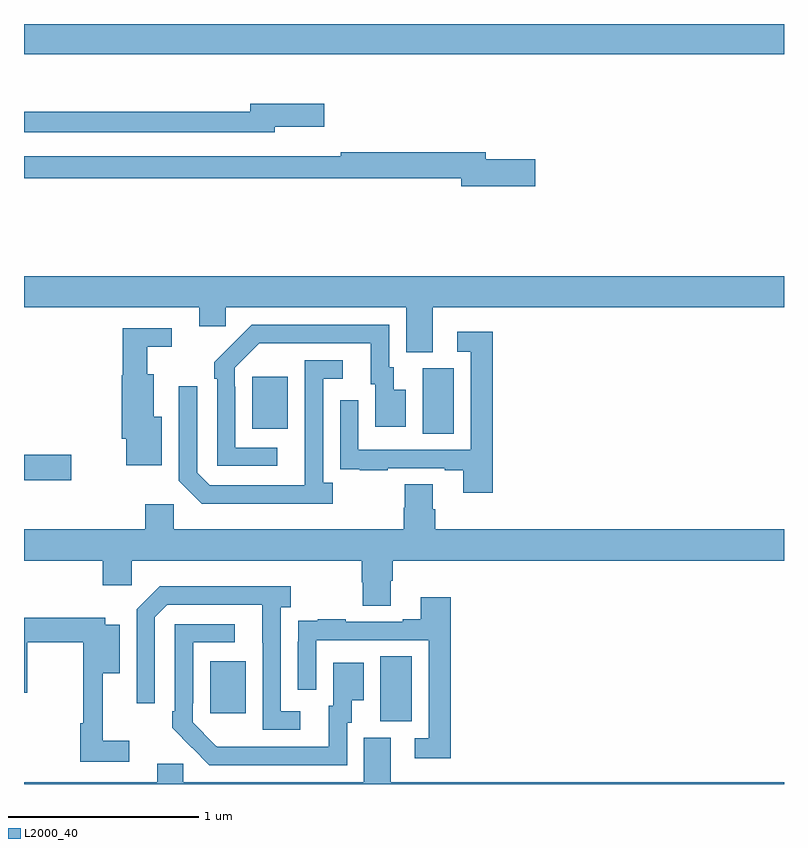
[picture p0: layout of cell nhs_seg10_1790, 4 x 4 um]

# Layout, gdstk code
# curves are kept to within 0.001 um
import gdstk
lib = gdstk.Library(unit=1e-6, precision=1e-09)
def R(c, l, rs):  # rectangles x0, y0, x1, y1
    for r in rs: c.add(gdstk.rectangle(r[:2], r[2:], *l))
def P(c, l, *ps):  # polygons
    for p in ps: c.add(gdstk.Polygon(p, *l))
L2000_40 = (2000, 40)

nhs_seg10_1790 = lib.new_cell('nhs_seg10_1790')
R(nhs_seg10_1790, L2000_40, [(206.876,1272.829,207.04,1273.172), (205.979,1272.873,206.167,1273.147), (205,1274.099,205.249,1274.234), (207.098,1274.344,207.262,1274.688), (206.201,1274.369,206.389,1274.644), (205,1276.34,209,1276.5)])
P(nhs_seg10_1790, L2000_40, [(206.32,1275.959),(206.581,1275.959),(206.581,1276.081),(206.192,1276.081),(206.192,1276.039),(205,1276.039),(205,1275.93),(206.32,1275.93)],
  [(207.691,1275.788),(207.43,1275.788),(207.43,1275.824),(206.668,1275.824),(206.668,1275.805),(206.416,1275.805),(206.416,1275.804),(205,1275.804),(205,1275.688),(207.302,1275.688),(207.302,1275.646),(207.691,1275.646)],
  [(205,1275.008),(205.922,1275.008),(205.922,1274.91),(206.061,1274.91),(206.061,1275.008),(207.011,1275.008),(207.011,1274.773),(207.151,1274.773),(207.151,1275.008),(209,1275.008),(209,1275.172),(205,1275.172)],
  [(206.332,1274.271),(206.112,1274.271),(206.112,1274.591),(206.109,1274.591),(206.109,1274.691),(206.238,1274.82),(206.825,1274.82),(206.825,1274.604),(206.849,1274.604),(206.849,1274.379),(207.01,1274.379),(207.01,1274.575),(206.947,1274.575),(206.947,1274.694),(206.922,1274.694),(206.922,1274.916),(206.198,1274.916),(206.001,1274.721),(206.001,1274.633),(206.016,1274.633),(206.016,1274.175),(206.332,1274.175)],
  [(205.726,1274.434),(205.684,1274.434),(205.684,1274.656),(205.648,1274.656),(205.648,1274.801),(205.777,1274.801),(205.777,1274.898),(205.519,1274.898),(205.519,1274.652),(205.514,1274.652),(205.514,1274.316),(205.538,1274.316),(205.538,1274.177),(205.726,1274.177)],
  [(207.467,1274.881),(207.279,1274.881),(207.279,1274.775),(207.351,1274.775),(207.351,1274.259),(206.76,1274.259),(206.76,1274.521),(206.664,1274.521),(206.664,1274.266),(206.665,1274.266),(206.665,1274.157),(206.767,1274.157),(206.767,1274.151),(206.915,1274.151),(206.915,1274.163),(207.215,1274.163),(207.215,1274.151),(207.311,1274.151),(207.311,1274.034),(207.467,1274.034)],
  [(206.626,1274.086),(206.574,1274.086),(206.574,1274.634),(206.677,1274.634),(206.677,1274.73),(206.478,1274.73),(206.477,1274.073),(205.977,1274.073),(205.911,1274.139),(205.911,1274.593),(205.815,1274.593),(205.815,1274.097),(205.936,1273.976),(206.626,1273.976)],
  [(206.929,1273.57),(206.942,1273.57),(206.942,1273.676),(209,1273.676),(209,1273.84),(207.164,1273.84),(207.164,1273.946),(207.151,1273.946),(207.151,1274.078),(207.004,1274.078),(207.004,1273.953),(206.999,1273.953),(206.999,1273.84),(205.788,1273.84),(205.788,1273.972),(205.637,1273.972),(205.637,1273.84),(205,1273.84),(205,1273.676),(205.415,1273.676),(205.415,1273.545),(205.566,1273.545),(205.566,1273.676),(206.777,1273.676),(206.777,1273.563),(206.782,1273.563),(206.782,1273.438),(206.929,1273.438)],
  [(206.455,1272.882),(206.352,1272.882),(206.352,1273.43),(206.404,1273.43),(206.404,1273.54),(205.714,1273.54),(205.593,1273.419),(205.593,1272.924),(205.689,1272.924),(205.689,1273.377),(205.755,1273.443),(206.255,1273.443),(206.256,1272.786),(206.455,1272.786)],
  [(207.245,1273.483),(207.089,1273.483),(207.089,1273.366),(206.993,1273.366),(206.993,1273.353),(206.693,1273.353),(206.693,1273.366),(206.545,1273.366),(206.545,1273.359),(206.443,1273.359),(206.443,1273.25),(206.442,1273.25),(206.442,1272.996),(206.538,1272.996),(206.538,1273.257),(207.129,1273.257),(207.129,1272.741),(207.057,1272.741),(207.057,1272.636),(207.245,1272.636)],
  [(205.555,1272.727),(205.415,1272.727),(205.415,1273.082),(205.504,1273.082),(205.504,1273.339),(205.428,1273.339),(205.428,1273.375),(205,1273.375),(205,1272.981),(205.018,1272.981),(205.018,1273.246),(205.312,1273.246),(205.312,1272.821),(205.297,1272.821),(205.297,1272.618),(205.555,1272.618)],
  [(206.7,1272.822),(206.725,1272.822),(206.725,1272.941),(206.788,1272.941),(206.788,1273.138),(206.627,1273.138),(206.627,1272.912),(206.603,1272.912),(206.603,1272.696),(206.016,1272.697),(205.887,1272.825),(205.887,1272.925),(205.89,1272.925),(205.89,1273.245),(206.11,1273.245),(206.11,1273.341),(205.794,1273.341),(205.794,1272.883),(205.779,1272.883),(205.779,1272.795),(205.976,1272.6),(206.7,1272.6)],
  [(209,1272.508),(206.929,1272.508),(206.929,1272.744),(206.789,1272.744),(206.789,1272.508),(205.839,1272.508),(205.839,1272.606),(205.7,1272.606),(205.7,1272.508),(205,1272.508),(205,1272.5),(209,1272.5)])

lib.write_gds('nhs_seg10_1790.gds')
